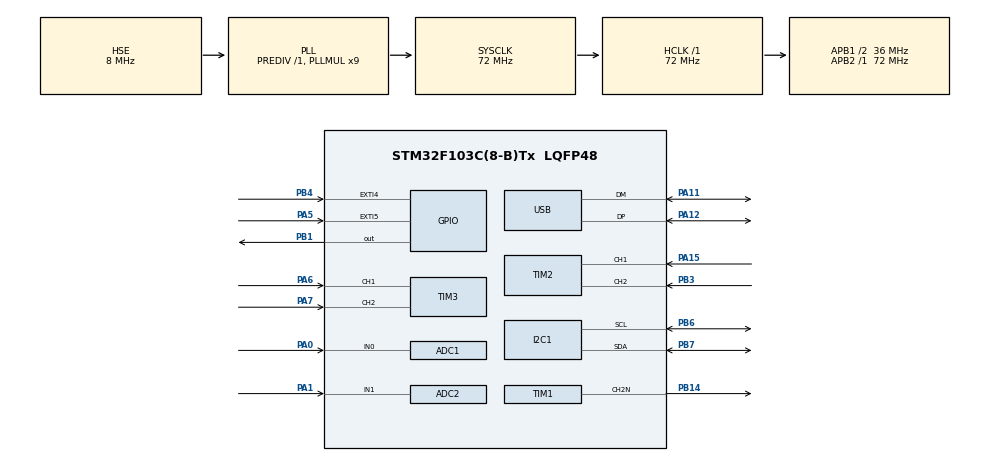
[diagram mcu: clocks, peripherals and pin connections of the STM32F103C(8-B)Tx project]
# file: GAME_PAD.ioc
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ADC1.Channel-0\#ChannelRegularConversion=ADC_CHANNEL_0
ADC1.NbrOfConversion=1
ADC1.NbrOfConversionFlag=1
ADC1.Rank-0\#ChannelRegularConversion=1
ADC1.SamplingTime-0\#ChannelRegularConversion=ADC_SAMPLETIME_239CYCLES_5
ADC1.master=1
ADC2.Channel-0\#ChannelRegularConversion=ADC_CHANNEL_1
ADC2.NbrOfConversionFlag=1
ADC2.Rank-0\#ChannelRegularConversion=1
ADC2.SamplingTime-0\#ChannelRegularConversion=ADC_SAMPLETIME_239CYCLES_5
Mcu.Family=STM32F1
Mcu.Name=STM32F103C(8-B)Tx
Mcu.Package=LQFP48
NVIC.EXTI4_IRQn=true\:1\:0\:true\:false\:true\:true\:true\:true
NVIC.EXTI9_5_IRQn=true\:2\:0\:true\:false\:true\:true\:true\:true
NVIC.PriorityGroup=NVIC_PRIORITYGROUP_4
NVIC.USB_LP_CAN1_RX0_IRQn=true\:0\:0\:false\:false\:true\:true\:true\:true
PA0-WKUP.Signal=ADCx_IN0
PA1.Signal=ADCx_IN1
PA11.Mode=Device
PA11.Signal=USB_DM
PA12.Mode=Device
PA12.Signal=USB_DP
PA13.Mode=Serial_Wire
PA13.Signal=SYS_JTMS-SWDIO
PA14.Mode=Serial_Wire
PA14.Signal=SYS_JTCK-SWCLK
PA15.GPIO_PuPd=GPIO_PULLUP
PA15.Signal=S_TIM2_CH1_ETR
PA5.GPIO_ModeDefaultEXTI=GPIO_MODE_IT_RISING
PA5.GPIO_PuPd=GPIO_PULLUP
PA5.Signal=GPXTI5
PA6.Signal=S_TIM3_CH1
PA7.Signal=S_TIM3_CH2
PB1.PinState=GPIO_PIN_RESET
PB1.Signal=GPIO_Output
PB14.Mode=PWM Generation2 CH2N
PB14.Signal=TIM1_CH2N
PB3.GPIO_PuPd=GPIO_PULLUP
PB3.Signal=S_TIM2_CH2
PB4.GPIO_ModeDefaultEXTI=GPIO_MODE_IT_RISING
PB4.GPIO_PuPd=GPIO_PULLUP
PB4.Signal=GPXTI4
PB6.Mode=I2C
PB6.Signal=I2C1_SCL
PB7.Mode=I2C
PB7.Signal=I2C1_SDA
PD0-OSC_IN.Mode=HSE-External-Oscillator
PD0-OSC_IN.Signal=RCC_OSC_IN
PD1-OSC_OUT.Mode=HSE-External-Oscillator
PD1-OSC_OUT.Signal=RCC_OSC_OUT
ProjectManager.HeapSize=0x200
ProjectManager.StackSize=0x400
ProjectManager.TargetToolchain=STM32CubeIDE
RCC.ADCPresc=RCC_ADCPCLK2_DIV6
RCC.AHBFreq_Value=72000000
RCC.APB1CLKDivider=RCC_HCLK_DIV2
RCC.APB1Freq_Value=36000000
RCC.APB1TimFreq_Value=72000000
RCC.APB2Freq_Value=72000000
RCC.APB2TimFreq_Value=72000000
RCC.HCLKFreq_Value=72000000
RCC.PLLMUL=RCC_PLL_MUL9
RCC.PLLSourceVirtual=RCC_PLLSOURCE_HSE
RCC.SYSCLKFreq_VALUE=72000000
RCC.SYSCLKSource=RCC_SYSCLKSOURCE_PLLCLK
RCC.USBFreq_Value=48000000
RCC.USBPrescaler=RCC_USBCLKSOURCE_PLL_DIV1_5
SH.ADCx_IN0.0=ADC1_IN0,IN0
SH.ADCx_IN1.0=ADC2_IN1,IN1
SH.S_TIM2_CH1_ETR.0=TIM2_CH1,Encoder_Interface
SH.S_TIM2_CH2.0=TIM2_CH2,Encoder_Interface
SH.S_TIM3_CH1.0=TIM3_CH1,Encoder_Interface
SH.S_TIM3_CH2.0=TIM3_CH2,Encoder_Interface
TIM1.AutoReloadPreload=TIM_AUTORELOAD_PRELOAD_ENABLE
TIM1.Channel-Output\ Compare2\ CH2=TIM_CHANNEL_2
TIM1.Channel-PWM\ Generation2\ CH2N=TIM_CHANNEL_2
TIM1.Period=\t799
TIM1.Prescaler=599
TIM1.Pulse-PWM\ Generation2\ CH2N=25
TIM2.EncoderMode=TIM_ENCODERMODE_TI12
TIM3.EncoderMode=TIM_ENCODERMODE_TI12
USB_DEVICE.CLASS_NAME_FS=HID
USB_DEVICE.VirtualMode=Hid
USB_DEVICE.VirtualModeFS=Hid_FS
VP_TIM1_VS_ClockSourceINT.Mode=Internal
VP_USB_DEVICE_VS_USB_DEVICE_HID_FS.Mode=HID_FS
board=custom

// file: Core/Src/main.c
/* USER CODE BEGIN Header */
/**
  ******************************************************************************
  * @file           : main.c
  * @brief          : Main program body
  ******************************************************************************
  * @attention
  *
  * Copyright (c) 2025 STMicroelectronics.
  * All rights reserved.
  *
  * This software is licensed under terms that can be found in the LICENSE file
  * in the root directory of this software component.
  * If no LICENSE file comes with this software, it is provided AS-IS.
  *
  ******************************************************************************
  */
/* USER CODE END Header */
#include "main.h"
#include "usb_device.h"

/* USER CODE BEGIN Includes */
//#include "usbd_cdc_if.h"
#include "usbd_hid.h"
#include "string.h"
#include "MCP23017.h"
#include "TLC59116.h"
/* USER CODE END Includes */

/* USER CODE BEGIN PTD */
extern USBD_HandleTypeDef hUsbDeviceFS;

typedef struct
{
//	uint16_t Keycode0;//x
//	uint16_t Keycode1;//y

	uint8_t Keycode0;//button 1-8
	uint8_t Keycode1;//button 9-16
	uint8_t Keycode2;//button 17-20

//	uint16_t Keycode4;
//	uint16_t Keycode5;

//	uint8_t Keycode6;
//	uint8_t Keycode7;
//	uint8_t Keycode8;
//	uint8_t Keycode9;
}keyboardHID;

keyboardHID keyboardhid={0};
/* USER CODE END PTD */

/* USER CODE BEGIN PD */
#define MCP23017_ADDR     (0x20 << 1) // Dịch trái 1 bit theo chuẩn HAL
#define IODIRA_REG        0x00
#define GPIOA_REG         0x12
#define IODIRB_REG        0x01
#define GPIOB_REG         0x13

#define REPORT_SIZE 5
/* USER CODE END PD */

ADC_HandleTypeDef hadc1;
ADC_HandleTypeDef hadc2;

I2C_HandleTypeDef hi2c1;

TIM_HandleTypeDef htim1;
TIM_HandleTypeDef htim2;
TIM_HandleTypeDef htim3;

/* USER CODE BEGIN PV */
uint8_t portA;
/* USER CODE END PV */

void SystemClock_Config(void);
static void MX_GPIO_Init(void);
static void MX_I2C1_Init(void);
static void MX_ADC1_Init(void);
static void MX_ADC2_Init(void);
static void MX_TIM1_Init(void);
static void MX_TIM2_Init(void);
static void MX_TIM3_Init(void);

/* USER CODE BEGIN 0 */
uint8_t portA;
uint8_t portB;
int ADC_VAL;
int value_ledPWM;
int value_lcdPWM;
volatile short pulseOld1=0;
volatile short pulseOld2=0;
volatile short pulsePre1=0;
volatile short pulsePre2=0;
uint32_t HC165_DT;
uint8_t click_report[REPORT_SIZE] = {0};
volatile uint8_t ButtonPoten1 = 0;
volatile uint8_t ButtonPoten2 = 0;

void HAL_GPIO_EXTI_Callback(uint16_t GPIO_Pin)
{
  /* Prevent unused argument(s) compilation warning */
  UNUSED(GPIO_Pin);
  if(GPIO_Pin==GPIO_PIN_4){
	  ButtonPoten1 = 1;
  }
  if(GPIO_Pin==GPIO_PIN_5){
	  ButtonPoten2 = 1;
  }
}

/* USER CODE END 0 */

int main(void)
{

  /* MCU Configuration--------------------------------------------------------*/

  /* Reset of all peripherals, Initializes the Flash interface and the Systick. */
  HAL_Init();

  /* Configure the system clock */
  SystemClock_Config();

  /* Initialize all configured peripherals */
  MX_GPIO_Init();
  MX_I2C1_Init();
  MX_ADC1_Init();
  MX_ADC2_Init();
  MX_TIM1_Init();
  MX_TIM2_Init();
  MX_TIM3_Init();
  MX_USB_DEVICE_Init();
  /* USER CODE BEGIN 2 */
  MCP23017_Init(&hi2c1);
  MCP23017_EnablePullUps(&hi2c1);

  //mode digital
  TLC59116_Init(&hi2c1);

  //mode pwm
  TLC59116_Set_All_PWM_Mode(&hi2c1);
  HAL_TIM_PWM_Start(&htim1, TIM_CHANNEL_2);
  HAL_TIMEx_PWMN_Start(&htim1, TIM_CHANNEL_2);
  HAL_TIM_Encoder_Start(&htim2, TIM_CHANNEL_1 | TIM_CHANNEL_2);
  HAL_TIM_Encoder_Start(&htim3, TIM_CHANNEL_1 | TIM_CHANNEL_2);
  /* USER CODE END 2 */

  /* Infinite loop */
  while (1)
  {

    /* USER CODE BEGIN 3 */
	//read pot
	pulsePre1 = __HAL_TIM_GET_COUNTER(&htim2);
	pulsePre2 = __HAL_TIM_GET_COUNTER(&htim3);

	//	  read button
	portA = ~MCP23017_Read_GPIOA(&hi2c1);
	portB = ~MCP23017_Read_GPIOB(&hi2c1);

	//set status button buffer HID
	keyboardhid.Keycode0 = portA;
//	keyboardhid.Keycode6 = keyboardhid.Keycode6 | 0x01;//button1
//	keyboardhid.Keycode6 = keyboardhid.Keycode6 | 0x02;//button2
//	keyboardhid.Keycode6 = keyboardhid.Keycode6 | 0x04;//button3
//	keyboardhid.Keycode6 = keyboardhid.Keycode6 | 0x08;//button4
//	keyboardhid.Keycode6 = keyboardhid.Keycode6 | 0x10;//button5
//	keyboardhid.Keycode6 = keyboardhid.Keycode6 | 0x20;//button6
//	keyboardhid.Keycode6 = keyboardhid.Keycode6 | 0x40;//button7
//	keyboardhid.Keycode6 = keyboardhid.Keycode6 | 0x80;//button8
	keyboardhid.Keycode1 = portB;
//	keyboardhid.Keycode7 = keyboardhid.Keycode7 | 0x01;//button9
//	keyboardhid.Keycode7 = keyboardhid.Keycode7 | 0x02;//button10
//	keyboardhid.Keycode7 = keyboardhid.Keycode7 | 0x04;//button11
//	keyboardhid.Keycode7 = keyboardhid.Keycode7 | 0x08;//button12
//	keyboardhid.Keycode7 = keyboardhid.Keycode7 | 0x10;//button13
//	keyboardhid.Keycode7 = keyboardhid.Keycode7 | 0x20;//button14

	//set cursor status buffer HID
//	keyboardhid.Keycode0 = pulse1*50;
//	keyboardhid.Keycode1 = pulse2*50;

	//button on poten 1
	if(pulsePre1 > pulseOld1){
		pulseOld1 = pulsePre1;
		keyboardhid.Keycode1 = keyboardhid.Keycode1 | 0x40;
	}

	if(pulsePre1 < pulseOld1){
		pulseOld1 = pulsePre1;
		keyboardhid.Keycode1 = keyboardhid.Keycode1 | 0x80;
	}

	if(ButtonPoten1  == 1){
		keyboardhid.Keycode2 = keyboardhid.Keycode2 | 0x01;
		ButtonPoten1 = 0;
	}

	if(ButtonPoten2  == 1){
		keyboardhid.Keycode2 = keyboardhid.Keycode2 | 0x08;
		ButtonPoten2 = 0;
	}

	if(pulsePre2 > pulseOld2){
		pulseOld2 = pulsePre2;
		keyboardhid.Keycode2 = keyboardhid.Keycode2 | 0x02;
	}
	if(pulsePre2 < pulseOld2){
		pulseOld2 = pulsePre2;
		keyboardhid.Keycode2 = keyboardhid.Keycode2 | 0x04;
	}

	//button on poten 1
//	pulsePre1 = __HAL_TIM_GET_COUNTER(&htim2);
//	pulsePre2 = __HAL_TIM_GET_COUNTER(&htim3);

	USBD_HID_SendReport(&hUsbDeviceFS, &keyboardhid, sizeof (keyboardhid));
	HAL_Delay(100);

	//reset status button on poten
	keyboardhid.Keycode2 = keyboardhid.Keycode2 & 0x00;

//	//control led follow PWM
    HAL_ADC_Start(&hadc1);
    HAL_ADC_PollForConversion(&hadc1, 100);
    ADC_VAL = HAL_ADC_GetValue(&hadc1);
    HAL_ADC_Stop(&hadc1);
    value_ledPWM = (ADC_VAL * 255)/4095;
	for(uint8_t j = 0; j < 14; j++){
		TLC59116_Set_PWM(&hi2c1, j, value_ledPWM); // Tăng độ sáng OUT0
	}

//	//control lcd light
	HAL_ADC_Start(&hadc2);
	HAL_ADC_PollForConversion(&hadc2, 100);
	ADC_VAL = HAL_ADC_GetValue(&hadc2);
	HAL_ADC_Stop(&hadc2);
	value_lcdPWM = (ADC_VAL * 800)/4096;
    __HAL_TIM_SET_COMPARE(&htim1, TIM_CHANNEL_2, value_lcdPWM);

  }

  /* USER CODE END 3 */
}

void SystemClock_Config(void)
{
  RCC_OscInitTypeDef RCC_OscInitStruct = {0};
  RCC_ClkInitTypeDef RCC_ClkInitStruct = {0};
  RCC_PeriphCLKInitTypeDef PeriphClkInit = {0};

  /** Initializes the RCC Oscillators according to the specified parameters
  * in the RCC_OscInitTypeDef structure.
  */
  RCC_OscInitStruct.OscillatorType = RCC_OSCILLATORTYPE_HSE;
  RCC_OscInitStruct.HSEState = RCC_HSE_ON;
  RCC_OscInitStruct.HSEPredivValue = RCC_HSE_PREDIV_DIV1;
  RCC_OscInitStruct.HSIState = RCC_HSI_ON;
  RCC_OscInitStruct.PLL.PLLState = RCC_PLL_ON;
  RCC_OscInitStruct.PLL.PLLSource = RCC_PLLSOURCE_HSE;
  RCC_OscInitStruct.PLL.PLLMUL = RCC_PLL_MUL9;
  if (HAL_RCC_OscConfig(&RCC_OscInitStruct) != HAL_OK)
  {
    Error_Handler();
  }

  /** Initializes the CPU, AHB and APB buses clocks
  */
  RCC_ClkInitStruct.ClockType = RCC_CLOCKTYPE_HCLK|RCC_CLOCKTYPE_SYSCLK
                              |RCC_CLOCKTYPE_PCLK1|RCC_CLOCKTYPE_PCLK2;
  RCC_ClkInitStruct.SYSCLKSource = RCC_SYSCLKSOURCE_PLLCLK;
  RCC_ClkInitStruct.AHBCLKDivider = RCC_SYSCLK_DIV1;
  RCC_ClkInitStruct.APB1CLKDivider = RCC_HCLK_DIV2;
  RCC_ClkInitStruct.APB2CLKDivider = RCC_HCLK_DIV1;

  if (HAL_RCC_ClockConfig(&RCC_ClkInitStruct, FLASH_LATENCY_2) != HAL_OK)
  {
    Error_Handler();
  }
  PeriphClkInit.PeriphClockSelection = RCC_PERIPHCLK_ADC|RCC_PERIPHCLK_USB;
  PeriphClkInit.AdcClockSelection = RCC_ADCPCLK2_DIV6;
  PeriphClkInit.UsbClockSelection = RCC_USBCLKSOURCE_PLL_DIV1_5;
  if (HAL_RCCEx_PeriphCLKConfig(&PeriphClkInit) != HAL_OK)
  {
    Error_Handler();
  }
}

static void MX_ADC1_Init(void)
{

  ADC_ChannelConfTypeDef sConfig = {0};

  /** Common config
  */
  hadc1.Instance = ADC1;
  hadc1.Init.ScanConvMode = ADC_SCAN_DISABLE;
  hadc1.Init.ContinuousConvMode = DISABLE;
  hadc1.Init.DiscontinuousConvMode = DISABLE;
  hadc1.Init.ExternalTrigConv = ADC_SOFTWARE_START;
  hadc1.Init.DataAlign = ADC_DATAALIGN_RIGHT;
  hadc1.Init.NbrOfConversion = 1;
  if (HAL_ADC_Init(&hadc1) != HAL_OK)
  {
    Error_Handler();
  }

  /** Configure Regular Channel
  */
  sConfig.Channel = ADC_CHANNEL_0;
  sConfig.Rank = ADC_REGULAR_RANK_1;
  sConfig.SamplingTime = ADC_SAMPLETIME_239CYCLES_5;
  if (HAL_ADC_ConfigChannel(&hadc1, &sConfig) != HAL_OK)
  {
    Error_Handler();
  }

}

static void MX_ADC2_Init(void)
{

  ADC_ChannelConfTypeDef sConfig = {0};

  /** Common config
  */
  hadc2.Instance = ADC2;
  hadc2.Init.ScanConvMode = ADC_SCAN_DISABLE;
  hadc2.Init.ContinuousConvMode = DISABLE;
  hadc2.Init.DiscontinuousConvMode = DISABLE;
  hadc2.Init.ExternalTrigConv = ADC_SOFTWARE_START;
  hadc2.Init.DataAlign = ADC_DATAALIGN_RIGHT;
  hadc2.Init.NbrOfConversion = 1;
  if (HAL_ADC_Init(&hadc2) != HAL_OK)
  {
    Error_Handler();
  }

  /** Configure Regular Channel
  */
  sConfig.Channel = ADC_CHANNEL_1;
  sConfig.Rank = ADC_REGULAR_RANK_1;
  sConfig.SamplingTime = ADC_SAMPLETIME_239CYCLES_5;
  if (HAL_ADC_ConfigChannel(&hadc2, &sConfig) != HAL_OK)
  {
    Error_Handler();
  }

}

static void MX_I2C1_Init(void)
{

  hi2c1.Instance = I2C1;
  hi2c1.Init.ClockSpeed = 100000;
  hi2c1.Init.DutyCycle = I2C_DUTYCYCLE_2;
  hi2c1.Init.OwnAddress1 = 0;
  hi2c1.Init.AddressingMode = I2C_ADDRESSINGMODE_7BIT;
  hi2c1.Init.DualAddressMode = I2C_DUALADDRESS_DISABLE;
  hi2c1.Init.OwnAddress2 = 0;
  hi2c1.Init.GeneralCallMode = I2C_GENERALCALL_DISABLE;
  hi2c1.Init.NoStretchMode = I2C_NOSTRETCH_DISABLE;
  if (HAL_I2C_Init(&hi2c1) != HAL_OK)
  {
    Error_Handler();
  }

}

static void MX_TIM1_Init(void)
{

  TIM_ClockConfigTypeDef sClockSourceConfig = {0};
  TIM_MasterConfigTypeDef sMasterConfig = {0};
  TIM_OC_InitTypeDef sConfigOC = {0};
  TIM_BreakDeadTimeConfigTypeDef sBreakDeadTimeConfig = {0};

  htim1.Instance = TIM1;
  htim1.Init.Prescaler = 599;
  htim1.Init.CounterMode = TIM_COUNTERMODE_UP;
  htim1.Init.Period = 799;
  htim1.Init.ClockDivision = TIM_CLOCKDIVISION_DIV1;
  htim1.Init.RepetitionCounter = 0;
  htim1.Init.AutoReloadPreload = TIM_AUTORELOAD_PRELOAD_ENABLE;
  if (HAL_TIM_Base_Init(&htim1) != HAL_OK)
  {
    Error_Handler();
  }
  sClockSourceConfig.ClockSource = TIM_CLOCKSOURCE_INTERNAL;
  if (HAL_TIM_ConfigClockSource(&htim1, &sClockSourceConfig) != HAL_OK)
  {
    Error_Handler();
  }
  if (HAL_TIM_PWM_Init(&htim1) != HAL_OK)
  {
    Error_Handler();
  }
  sMasterConfig.MasterOutputTrigger = TIM_TRGO_RESET;
  sMasterConfig.MasterSlaveMode = TIM_MASTERSLAVEMODE_DISABLE;
  if (HAL_TIMEx_MasterConfigSynchronization(&htim1, &sMasterConfig) != HAL_OK)
  {
    Error_Handler();
  }
  sConfigOC.OCMode = TIM_OCMODE_PWM1;
  sConfigOC.Pulse = 25;
  sConfigOC.OCPolarity = TIM_OCPOLARITY_HIGH;
  sConfigOC.OCNPolarity = TIM_OCNPOLARITY_HIGH;
  sConfigOC.OCFastMode = TIM_OCFAST_DISABLE;
  sConfigOC.OCIdleState = TIM_OCIDLESTATE_RESET;
  sConfigOC.OCNIdleState = TIM_OCNIDLESTATE_RESET;
  if (HAL_TIM_PWM_ConfigChannel(&htim1, &sConfigOC, TIM_CHANNEL_2) != HAL_OK)
  {
    Error_Handler();
  }
  sBreakDeadTimeConfig.OffStateRunMode = TIM_OSSR_DISABLE;
  sBreakDeadTimeConfig.OffStateIDLEMode = TIM_OSSI_DISABLE;
  sBreakDeadTimeConfig.LockLevel = TIM_LOCKLEVEL_OFF;
  sBreakDeadTimeConfig.DeadTime = 0;
  sBreakDeadTimeConfig.BreakState = TIM_BREAK_DISABLE;
  sBreakDeadTimeConfig.BreakPolarity = TIM_BREAKPOLARITY_HIGH;
  sBreakDeadTimeConfig.AutomaticOutput = TIM_AUTOMATICOUTPUT_DISABLE;
  if (HAL_TIMEx_ConfigBreakDeadTime(&htim1, &sBreakDeadTimeConfig) != HAL_OK)
  {
    Error_Handler();
  }
  HAL_TIM_MspPostInit(&htim1);

}

static void MX_TIM2_Init(void)
{

  TIM_Encoder_InitTypeDef sConfig = {0};
  TIM_MasterConfigTypeDef sMasterConfig = {0};

  htim2.Instance = TIM2;
  htim2.Init.Prescaler = 0;
  htim2.Init.CounterMode = TIM_COUNTERMODE_UP;
  htim2.Init.Period = 65535;
  htim2.Init.ClockDivision = TIM_CLOCKDIVISION_DIV1;
  htim2.Init.AutoReloadPreload = TIM_AUTORELOAD_PRELOAD_DISABLE;
  sConfig.EncoderMode = TIM_ENCODERMODE_TI12;
  sConfig.IC1Polarity = TIM_ICPOLARITY_RISING;
  sConfig.IC1Selection = TIM_ICSELECTION_DIRECTTI;
  sConfig.IC1Prescaler = TIM_ICPSC_DIV1;
  sConfig.IC1Filter = 0;
  sConfig.IC2Polarity = TIM_ICPOLARITY_RISING;
  sConfig.IC2Selection = TIM_ICSELECTION_DIRECTTI;
  sConfig.IC2Prescaler = TIM_ICPSC_DIV1;
  sConfig.IC2Filter = 0;
  if (HAL_TIM_Encoder_Init(&htim2, &sConfig) != HAL_OK)
  {
    Error_Handler();
  }
  sMasterConfig.MasterOutputTrigger = TIM_TRGO_RESET;
  sMasterConfig.MasterSlaveMode = TIM_MASTERSLAVEMODE_DISABLE;
  if (HAL_TIMEx_MasterConfigSynchronization(&htim2, &sMasterConfig) != HAL_OK)
  {
    Error_Handler();
  }

}

static void MX_TIM3_Init(void)
{

  TIM_Encoder_InitTypeDef sConfig = {0};
  TIM_MasterConfigTypeDef sMasterConfig = {0};

  htim3.Instance = TIM3;
  htim3.Init.Prescaler = 0;
  htim3.Init.CounterMode = TIM_COUNTERMODE_UP;
  htim3.Init.Period = 65535;
  htim3.Init.ClockDivision = TIM_CLOCKDIVISION_DIV1;
  htim3.Init.AutoReloadPreload = TIM_AUTORELOAD_PRELOAD_DISABLE;
  sConfig.EncoderMode = TIM_ENCODERMODE_TI12;
  sConfig.IC1Polarity = TIM_ICPOLARITY_RISING;
  sConfig.IC1Selection = TIM_ICSELECTION_DIRECTTI;
  sConfig.IC1Prescaler = TIM_ICPSC_DIV1;
  sConfig.IC1Filter = 0;
  sConfig.IC2Polarity = TIM_ICPOLARITY_RISING;
  sConfig.IC2Selection = TIM_ICSELECTION_DIRECTTI;
  sConfig.IC2Prescaler = TIM_ICPSC_DIV1;
  sConfig.IC2Filter = 0;
  if (HAL_TIM_Encoder_Init(&htim3, &sConfig) != HAL_OK)
  {
    Error_Handler();
  }
  sMasterConfig.MasterOutputTrigger = TIM_TRGO_RESET;
  sMasterConfig.MasterSlaveMode = TIM_MASTERSLAVEMODE_DISABLE;
  if (HAL_TIMEx_MasterConfigSynchronization(&htim3, &sMasterConfig) != HAL_OK)
  {
    Error_Handler();
  }

}

static void MX_GPIO_Init(void)
{
  GPIO_InitTypeDef GPIO_InitStruct = {0};

  /* GPIO Ports Clock Enable */
  __HAL_RCC_GPIOD_CLK_ENABLE();
  __HAL_RCC_GPIOA_CLK_ENABLE();
  __HAL_RCC_GPIOB_CLK_ENABLE();

  /*Configure GPIO pin Output Level */
  HAL_GPIO_WritePin(GPIOB, GPIO_PIN_1, GPIO_PIN_RESET);

  /*Configure GPIO pin : PA5 */
  GPIO_InitStruct.Pin = GPIO_PIN_5;
  GPIO_InitStruct.Mode = GPIO_MODE_IT_RISING;
  GPIO_InitStruct.Pull = GPIO_PULLUP;
  HAL_GPIO_Init(GPIOA, &GPIO_InitStruct);

  /*Configure GPIO pin : PB1 */
  GPIO_InitStruct.Pin = GPIO_PIN_1;
  GPIO_InitStruct.Mode = GPIO_MODE_OUTPUT_PP;
  GPIO_InitStruct.Pull = GPIO_NOPULL;
  GPIO_InitStruct.Speed = GPIO_SPEED_FREQ_LOW;
  HAL_GPIO_Init(GPIOB, &GPIO_InitStruct);

  /*Configure GPIO pin : PB4 */
  GPIO_InitStruct.Pin = GPIO_PIN_4;
  GPIO_InitStruct.Mode = GPIO_MODE_IT_RISING;
  GPIO_InitStruct.Pull = GPIO_PULLUP;
  HAL_GPIO_Init(GPIOB, &GPIO_InitStruct);

  /* EXTI interrupt init*/
  HAL_NVIC_SetPriority(EXTI4_IRQn, 1, 0);
  HAL_NVIC_EnableIRQ(EXTI4_IRQn);

  HAL_NVIC_SetPriority(EXTI9_5_IRQn, 2, 0);
  HAL_NVIC_EnableIRQ(EXTI9_5_IRQn);

}

void Error_Handler(void)
{
  __disable_irq();
  while (1)
  {
  }
}
